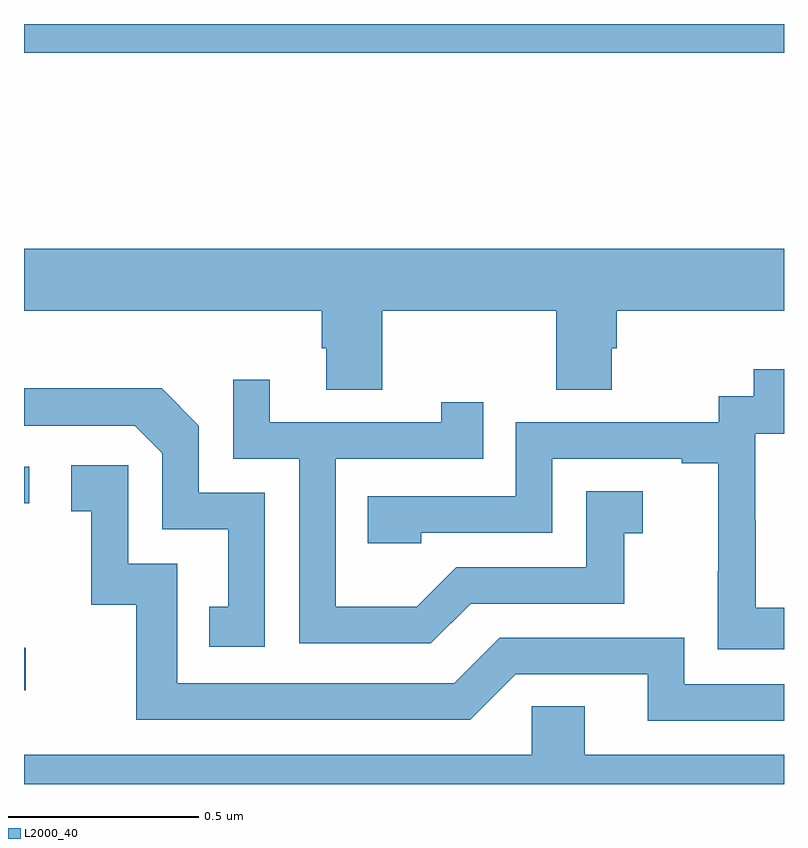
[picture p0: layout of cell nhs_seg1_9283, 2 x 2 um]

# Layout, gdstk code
import gdstk
lib = gdstk.Library(unit=1e-6, precision=1e-09)
def R(c, l, rs):  # rectangles x0, y0, x1, y1
    for r in rs: c.add(gdstk.rectangle(r[:2], r[2:], *l))
def P(c, l, *ps):  # polygons
    for p in ps: c.add(gdstk.Polygon(p, *l))
L2000_40 = (2000, 40)

nhs_seg1_9283 = lib.new_cell('nhs_seg1_9283')
R(nhs_seg1_9283, L2000_40, [(227,505.446,227.004,505.558), (227,505.938,227.014,506.034), (227,507.124,229,507.199)])
P(nhs_seg1_9283, L2000_40, [(227.943,506.444),(228.4,506.444),(228.4,506.236),(228.547,506.236),(228.547,506.346),(228.56,506.346),(228.56,506.444),(229,506.444),(229,506.608),(227,506.608),(227,506.444),(227.783,506.444),(227.783,506.346),(227.795,506.346),(227.795,506.236),(227.943,506.236)],
  [(229,505.663),(228.926,505.663),(228.926,505.892),(228.924,505.892),(228.924,506.121),(229,506.121),(229,506.29),(228.921,506.29),(228.921,506.22),(228.828,506.22),(228.828,506.151),(228.294,506.151),(228.294,505.956),(227.905,505.956),(227.905,505.833),(228.045,505.833),(228.045,505.86),(228.39,505.86),(228.39,506.055),(228.731,506.055),(228.731,506.043),(228.827,506.043),(228.827,505.759),(228.826,505.759),(228.826,505.553),(229,505.553)],
  [(228.175,505.674),(228.579,505.674),(228.579,505.859),(228.628,505.859),(228.628,505.969),(228.48,505.969),(228.48,505.77),(228.138,505.77),(228.034,505.666),(227.82,505.666),(227.82,506.055),(228.209,506.055),(228.209,506.203),(228.098,506.203),(228.098,506.151),(227.647,506.151),(227.647,506.263),(227.55,506.263),(227.55,506.055),(227.724,506.055),(227.724,505.569),(228.07,505.569)],
  [(227.634,505.965),(227.46,505.965),(227.46,506.142),(227.362,506.24),(227,506.24),(227,506.142),(227.292,506.142),(227.364,506.07),(227.364,505.869),(227.537,505.869),(227.537,505.665),(227.488,505.665),(227.488,505.56),(227.634,505.56)],
  [(229,505.461),(228.738,505.461),(228.738,505.584),(228.252,505.584),(228.132,505.464),(227.403,505.464),(227.403,505.779),(227.274,505.779),(227.274,506.038),(227.124,506.038),(227.124,505.917),(227.177,505.917),(227.177,505.671),(227.295,505.671),(227.295,505.368),(228.174,505.368),(228.294,505.488),(228.641,505.488),(228.641,505.365),(229,505.365)],
  [(229,505.276),(228.475,505.276),(228.475,505.403),(228.336,505.403),(228.336,505.276),(227,505.276),(227,505.199),(229,505.199)])

lib.write_gds('nhs_seg1_9283.gds')
